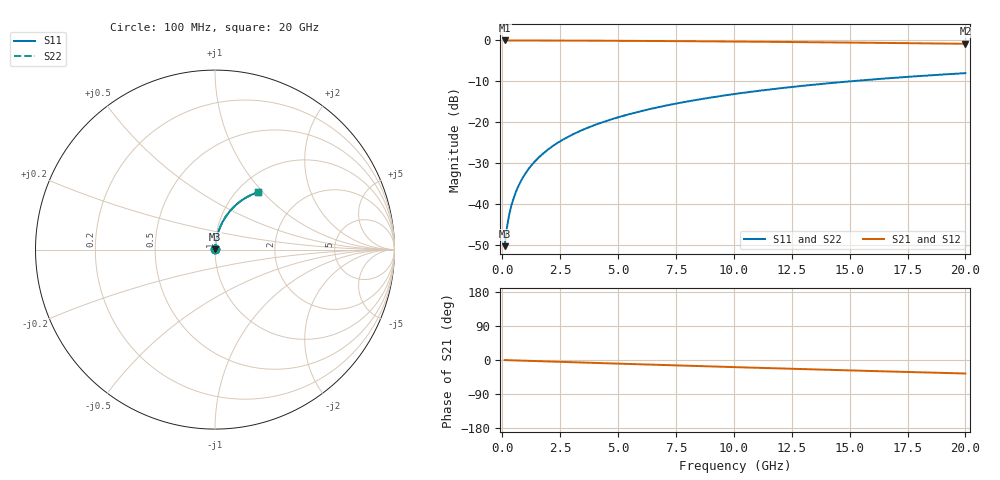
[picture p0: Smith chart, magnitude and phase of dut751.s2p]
! Touchstone file exported from HFSS 2026.1.0
!  File:  C:/ffzhzh/LocalFiles/Ansys_Project_Files/temp_train_TMRDL_751_1783155274_18472.aedt
!  Generated:  04:55:52 PM Jul  4, 2026
!  Design:  TMRDL
!  Project:  temp_train_TMRDL_751_1783155274_18472
! Variables:
!  h_bsmrdl = 2um
!  h_ox = 20um
!  h_rdl = 5um
!  h_sub = 80um
!  h_tmrdl = 5.43um
!  h_tsv = 80um
!  h_via = 3um
!  l_bsmrdl = 300um
!  l_sub = 854um
!  l_tmrdl = 454um
!  m_sub = 200um
!  pitch = 58.21um
!  r_tsv = 6um
!  s_tmrdl = 10um
!  w_bsmrdl = 18um
!  w_sub = 500um
!  w_tmrdl = 16.71um
!  x_tsv_center1 = 462.355um
!  x_tsv_center2 = 780.355um
!  x_tsv_center3 = 1251.065um
!  x_tsv_center4 = 1569.065um
!  x_tsv_center5 = 2039.775um
!  x_tsv_center6 = 2357.775um
# GHz S MA R 50.000000
! Terminal data exported
! Port[1] = TM_RDL1_1_T1
! Port[2] = TM_RDL1_1_T2
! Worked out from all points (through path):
!   200 points, 100 MHz to 20 GHz, reference 50 ohm
!   highest |S21| = -0.02 dB at 100 MHz (marker M1); lowest = -0.8 dB at 20 GHz (marker M2)
!   group delay of S21, straight-line fit = 4.95 ps
!   lowest |S11| = -50.2 dB at 100 MHz (marker M3), VSWR 1.01, Z = 50.2 + j0.247 ohm
!   |S11| at or under -10 dB: start of sweep to 14.99 GHz
!   |S22| runs from -50.2 to -8.0 dB; largest |S21 - S12| = 3.4e-15
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0.1  0.003099 52.5  0.9981 -0.2  0.9981 -0.2  0.003099 52.5
! Gamma 0 0 0 0
! Port Impedance 50 0 50 0
0.2  0.005259 67.9  0.998 -0.4  0.998 -0.4  0.005259 67.9
0.3  0.007539 73.9  0.998 -0.6  0.998 -0.6  0.007539 73.9
0.4  0.009849 77.1  0.9979 -0.8  0.9979 -0.8  0.009849 77.1
0.5  0.01217 79.1  0.9978 -1.0  0.9978 -1.0  0.01217 79.1
0.7  0.01685 81.2  0.9977 -1.4  0.9977 -1.4  0.01685 81.2
0.8  0.01919 81.8  0.9976 -1.6  0.9976 -1.6  0.01919 81.8
1  0.02389 82.6  0.9974 -2.0  0.9974 -2.0  0.02389 82.6
1.2  0.02859 82.9  0.9972 -2.3  0.9972 -2.3  0.02859 82.9
1.4  0.03328 83.1  0.997 -2.7  0.997 -2.7  0.03328 83.1
1.7  0.0403 83.0  0.9966 -3.3  0.9966 -3.3  0.0403 83.0
2  0.0473 82.8  0.9961 -3.9  0.9961 -3.9  0.0473 82.8
2.7  0.0635 81.9  0.9948 -5.2  0.9948 -5.2  0.0635 81.9
3.5  0.08179 80.7  0.993 -6.8  0.993 -6.8  0.08179 80.7
4.2  0.09758 79.5  0.9912 -8.1  0.9912 -8.1  0.09758 79.5
5  0.1154 78.1  0.9888 -9.6  0.9888 -9.6  0.1154 78.1
6.8  0.1546 75.0  0.9825 -13.0  0.9825 -13.0  0.1546 75.0
8.3  0.1864 72.4  0.9764 -15.7  0.9764 -15.7  0.1864 72.4
10.1  0.2234 69.4  0.9681 -18.9  0.9681 -18.9  0.2234 69.4
13.4  0.2873 63.8  0.9504 -24.7  0.9504 -24.7  0.2873 63.8
16.7  0.3459 58.4  0.9302 -30.3  0.9302 -30.3  0.3459 58.4
20  0.3987 53.2  0.9086 -35.6  0.9086 -35.6  0.3987 53.2
